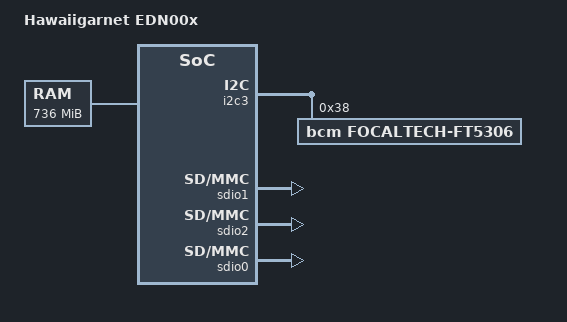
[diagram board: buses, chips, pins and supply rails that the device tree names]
/* Hawaii_edn01X Dts file */

/dts-v1/;

/include/ "bcm_21664.dtsi"
/include/ "hawaii_garnet_bcmpmu_edn000.dtsi"

/ {
	model = "Hawaiigarnet EDN00x";
	compatible = "bcm,hawaii";

	chosen {
		bootargs = "console=ttyS0,115200n8 mem=736M gpt pmem=200M carveout=32M androidboot.console=ttyS0 crash_ramdump=1 logbuf_nocache=1";
	};

	memory@82000000 {
		device_type = "memory";
		reg = <0x82000000 0x2e000000>; /* 736 MB */
	};

	wd-tapper {
		count = <300>; /* Time in seconds */
		ch-num = <1>; /* Kona hub timer Channel number */
		timer-name = "aon-timer";
	};

	uart@3e000000 {
		clock-frequency = <26000000>;
		port-name = "console";
		clk-name = "uartb_clk";
	};

	uart@3e001000 {
		clock-frequency = <48000000>;
		port-name = "bluetooth";
		clk-name = "uartb2_clk";
	};

	uart@3e002000 {
		clock-frequency = <26000000>;
		port-name = "gps";
		clk-name = "uartb3_clk";
	};

	i2c0: i2c@3e016000 {
		speed = <5>; /* BSC_BUS_SPEED_400 K */
		dynamic-speed = <1>;
		bsc-clk = "bsc1_clk";
		bsc-apb-clk = "bsc1_apb_clk";
		retries = <1>;
		is-pmu-i2c = <0>;
		fs-ref-frequency = <13000000>;
		hs-ref-frequency = <104000000>;
	};

	i2c1: i2c@3e017000 {
		speed = <5>; /* BSC_BUS_SPEED_400 K */
		dynamic-speed = <1>;
		bsc-clk = "bsc2_clk";
		bsc-apb-clk = "bsc2_apb_clk";
		retries = <3>;
		is-pmu-i2c = <0>;
		fs-ref-frequency = <13000000>;
		hs-ref-frequency = <104000000>;
	};

	i2c2: i2c@3e018000 {
		speed = <5>; /* BSC_BUS_SPEED_400 K */
		dynamic-speed = <1>;
		bsc-clk = "bsc3_clk";
		bsc-apb-clk = "bsc3_apb_clk";
		retries = <1>;
		is-pmu-i2c = <0>;
		fs-ref-frequency = <13000000>;
		hs-ref-frequency = <104000000>;
	};

	i2c3: i2c@3e01c000 {
		speed = <5>; /* BSC_BUS_SPEED_400 K */
		dynamic-speed = <1>;
		bsc-clk = "bsc4_clk";
		bsc-apb-clk = "bsc4_apb_clk";
		retries = <1>;
		is-pmu-i2c = <0>;
		fs-ref-frequency = <13000000>;
		hs-ref-frequency = <104000000>;

		FocalTech-Ft5306@46 {
			compatible = "bcm,FocalTech-Ft5306";
			reg = <0x38>;
			gpio-irq-pin = <73>;
			gpio-reset-pin = <70>;
			gpio-wakeup-pin = <70>;
			x-max-value = <720>;
			y-max-value = <1280>;
			use-irq = <1>;
			power = "camldo2";
		};
	};

	i2c4: i2c@3500d000 {
		speed = <7>; /* BSC_BUS_SPEED_HS */
		dynamic-speed = <0>;
		bsc-clk = "pmu_bsc_clk";
		bsc-apb-clk = "pmu_bsc_apb";
		retries = <5>;
		is-pmu-i2c = <1>;
		fs-ref-frequency = <13000000>;
		hs-ref-frequency = <26000000>;
	};

	bluetooth-bzhw {
		compatible = "bcm,bzhw";
		bt-wake-gpio = <32>;
		host-wake-gpio = <72>;
	};

	bcmbt-rfkill {
		compatible = "bcm,bcmbt-rfkill";
		verg-gpio = <26>;
		n-reset-gpio = <0xFFFFFFFF>;
		aux0-gpio = <0xFFFFFFFF>; /* CLK32 */
		aux1-gpio = <0xFFFFFFFF>; /* UARTB_SEL,probably not required */
	};

	soc-back-camera {
		compatible = "bcm,soc-camera";
		reg = <0x3c 0x0>;
		bus-id = <0>;
		i2c-type = "ov5640";	/* i2c_board_info type */
		i2c-addr = <0x3c>;	/* i2c_board_info addr */
		i2c-adapter-id = <0>;
		module-name = "ov5640";
		if-type = <1>;		/* V4L2_SUBDEV_SENSOR_SERIAL */
		if-mode = <3>;		/* V4L2_SUBDEV_SENSOR_MODE_SERIAL_CSI2 */
		orientation = <1>;	/* V4L2_SUBDEV_SENSOR_LANDSCAPE */
		facing = <1>;		/* V4L2_SUBDEV_SENSOR_BACK */
		lanes = <2>;
		channel = <0>;
		phy-rate = <0>;
		pix-clk = <0>;
	};

	soc-front-camera {
		compatible = "bcm,soc-camera";
		reg = <0x3e 0x0>;
		bus-id = <0>;
		i2c-type = "ov7692";	/* i2c_board_info type */
		i2c-addr = <0x3e>;	/* i2c_board_info addr */
		i2c-adapter-id = <0>;
		module-name = "ov7692";
		if-type = <1>;		/* V4L2_SUBDEV_SENSOR_SERIAL */
		if-mode = <3>;		/* V4L2_SUBDEV_SENSOR_MODE_SERIAL_CSI2 */
		orientation = <1>;	/* V4L2_SUBDEV_SENSOR_LANDSCAPE */
		facing = <0>;		/* V4L2_SUBDEV_SENSOR_FRONT */
		lanes = <1>;
		channel = <1>;
		phy-rate = <0>;
		pix-clk = <0>;

	};

	tmon@0x34008000 {
		compatible = "bcm,tmon";
		reg = <0x34008000 0x1000>;
		interrupts = <0 183 4>;
		chipreg_addr = <0x35004000 0x1000>;
		thold_size = <4>; /*number of threshold levels*/
		poll_rate_ms = <30000>;
		hysteresis = <0>;
		flags = <1>;
		interval_ms = <5>;
		thold = <70 65 1
			80 75 1
			90 85 1
			100 95 2>;
		tmon_apb_clk = "tmon_apb";
		tmon_1m_clk = "tmon_1m_clk";
	};

	memc@35008000 {
		compatible = "bcm,memc";
		reg = <0x35008000 0x1000>;
		flags = <0x3B>;
		chipreg_base = <0x35004000 0x1000>;
		memc0_aphy_base = <0x35008400 0x1000>;
		seq_busy_val = <2>;
		max_pwr = <3>;
	};

	sdio1 {
		compatible = "bcm,sdhci";
		reg = <0x3F190000 10000>;
		interrupts = <0 76 0x04>;
		id = <1>;
		data-pullup = <0>;
		is-8bit = <1>;
		devtype = <2>;		/*SDIO_DEV_TYPE_EMMC*/
		flags = <1>;		/*KONA_SDIO_FLAGS_DEVICE_NON_REMOVABLE*/
		peri-clk-name = "sdio2_clk";
		ahb-clk-name = "sdio2_ahb_clk";
		sleep-clk-name = "sdio2_sleep_clk";
		peri-clk-rate = <52000000>;
	};

	sdio2 {
		compatible = "bcm,sdhci";
		reg = <0x3F1A0000 10000>;
		interrupts = <0 74 0x04>;
		id = <2>;
		data-pullup = <0>;
		devtype = <1>;		/*SDIO_DEV_TYPE_WIFI*/
		flags = <0>;		/*KONA_SDIO_FLAGS_DEVICE_REMOVABLE*/
		peri-clk-name = "sdio3_clk";
		ahb-clk-name = "sdio3_ahb_clk";
		sleep-clk-name = "sdio3_sleep_clk";
		peri-clk-rate = <48000000>;
	};

	sdio0 {
		compatible = "bcm,sdhci";
		reg = <0x3F180000 10000>;
		interrupts = <0 77 0x04>;
		id = <0>;
		data-pullup = <0>;
		cd-gpio = <91>;		/*SD_CARDDET_GPIO_PIN*/
		devtype = <0>;		/*SDIO_DEV_TYPE_SDMMC*/
		flags = <0>;		/*KONA_SDIO_FLAGS_DEVICE_REMOVABLE*/
		peri-clk-name = "sdio1_clk";
		ahb-clk-name = "sdio1_ahb_clk";
		sleep-clk-name = "sdio1_sleep_clk";
		peri-clk-rate = <48000000>;
		vddo-regulator-name = "vdd_sdio";
		vddsdxc-regulator-name = "vdd_sdxc";
	};

	wifi-driver {
		compatible = "bcm,bcm_wifi";
		wl-reset-gpio = <3>;
		host-wake-gpio = <74>;
		board-nvram-file = "/system/vendor/firmware/fw_wifi_nvram.txt";
	};

	keypad {
		row-num = <2>;
		col-num = <3>;
		row-col-count = <8>;
		key-name = "Vol Down Key", "unused", "unused", "unused",
			"unused", "unused", "unused", "unused", "Vol Up Key",
			"Camera Key", "unused", "unused", "unused", "unused",
			"unused", "unused", "unused", "unused", "unused",
			"unused", "unused", "unused", "unused", "unused",
			"unused", "unused", "unused", "unused", "unused",
			"unused", "unused", "unused", "unused", "unused",
			"unused", "unused", "unused", "unused", "unused",
			"unused", "unused", "unused", "unused", "unused",
			"unused", "unused", "unused", "unused", "unused",
			"unused", "unused", "unused", "unused", "unused",
			"unused", "unused", "unused", "unused", "unused",
			"unused", "unused", "unused", "unused", "unused";
		key-code = <114 0 0 0 0 0 0 0
			115 212 0 0 0 0 0 0
			0 0 0 0 0 0 0 0
			0 0 0 0 0 0 0 0
			0 0 0 0 0 0 0 0
			0 0 0 0 0 0 0 0
			0 0 0 0 0 0 0 0
			0 0 0 0 0 0 0 0>;
	};

};
